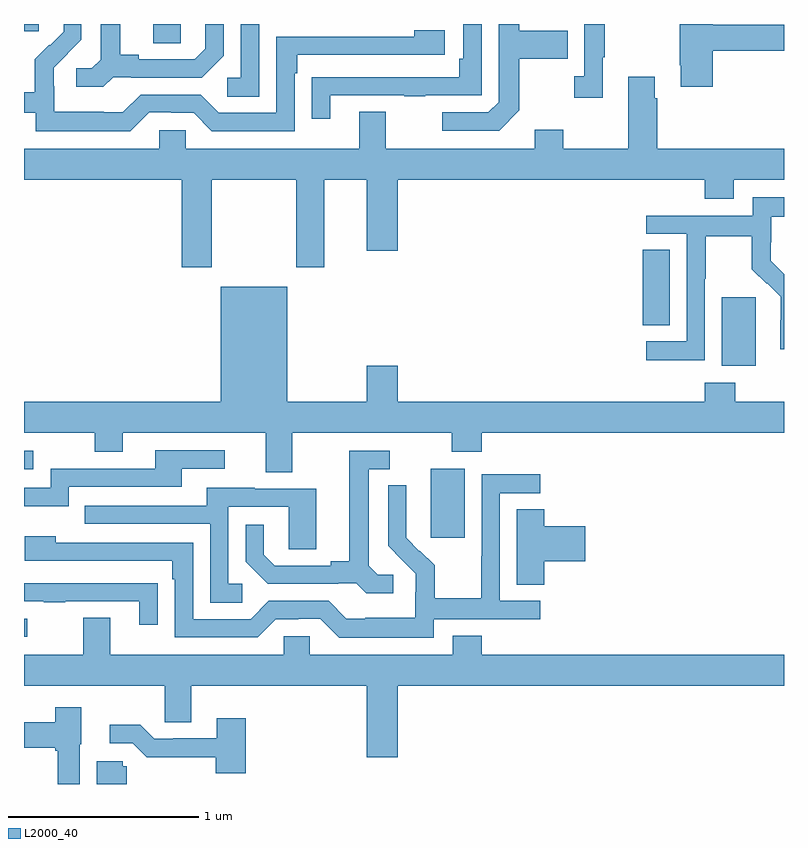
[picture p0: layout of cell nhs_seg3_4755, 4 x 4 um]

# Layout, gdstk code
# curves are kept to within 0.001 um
import gdstk
lib = gdstk.Library(unit=1e-6, precision=1e-09)
def R(c, l, rs):  # rectangles x0, y0, x1, y1
    for r in rs: c.add(gdstk.rectangle(r[:2], r[2:], *l))
def P(c, l, *ps):  # polygons
    for p in ps: c.add(gdstk.Polygon(p, *l))
L2000_40 = (2000, 40)

nhs_seg3_4755 = lib.new_cell('nhs_seg3_4755')
R(nhs_seg3_4755, L2000_40, [(367,701.175,367.018,701.271), (369.14,701.697,369.319,702.058), (367,702.057,367.048,702.153), (370.673,702.602,370.852,702.963), (370.256,702.814,370.399,703.211), (367.679,704.299,367.824,704.4), (367,704.361,367.078,704.4)])
P(nhs_seg3_4755, L2000_40, [(370.045,704.225),(370.057,704.225),(370.057,704.4),(369.948,704.4),(369.948,704.126),(369.897,704.126),(369.897,704.013),(370.045,704.013)],
  [(368.611,704.025),(369.001,704.025),(369.001,704.02),(369.113,704.02),(369.113,704.025),(369.408,704.025),(369.408,704.4),(369.312,704.4),(369.312,704.218),(369.292,704.218),(369.292,704.121),(368.617,704.121),(368.617,704.12),(368.515,704.12),(368.515,703.902),(368.611,703.902)],
  [(367.47,704.121),(367.564,704.121),(367.564,704.118),(367.936,704.118),(368.052,704.234),(368.052,704.4),(367.955,704.4),(367.955,704.271),(367.898,704.214),(367.603,704.214),(367.603,704.237),(367.507,704.237),(367.507,704.4),(367.403,704.4),(367.403,704.213),(367.356,704.166),(367.275,704.166),(367.275,704.069),(367.418,704.069)],
  [(367.659,703.935),(367.775,703.935),(367.775,703.932),(367.893,703.932),(367.989,703.836),(368.424,703.836),(368.424,704.141),(368.437,704.141),(368.437,704.238),(369.214,704.238),(369.214,704.368),(369.053,704.368),(369.053,704.334),(368.328,704.334),(368.328,703.932),(368.025,703.932),(367.929,704.028),(367.614,704.028),(367.521,703.935),(367.421,703.935),(367.421,703.939),(367.158,703.939),(367.158,704.073),(367.156,704.073),(367.156,704.17),(367.302,704.318),(367.302,704.4),(367.208,704.4),(367.208,704.36),(367.137,704.289),(367.134,704.292),(367.057,704.215),(367.057,704.041),(367,704.041),(367,703.932),(367.062,703.932),(367.062,703.835),(367.559,703.835)],
  [(370.625,704.26),(371,704.26),(371,704.396),(370.625,704.396),(370.625,704.4),(370.45,704.4),(370.45,704.182),(370.457,704.182),(370.457,704.07),(370.625,704.07)],
  [(368.238,704.4),(368.142,704.4),(368.142,704.118),(368.07,704.118),(368.07,704.017),(368.238,704.017)],
  [(369.607,703.945),(369.607,704.218),(369.863,704.218),(369.863,704.365),(369.607,704.365),(369.607,704.4),(369.498,704.4),(369.498,703.989),(369.444,703.935),(369.201,703.935),(369.201,703.839),(369.501,703.839)],
  [(367.989,703.58),(368.434,703.58),(368.434,703.119),(368.581,703.119),(368.581,703.58),(368.804,703.58),(368.804,703.206),(368.968,703.206),(368.968,703.58),(370.583,703.58),(370.583,703.481),(370.735,703.481),(370.735,703.58),(371,703.58),(371,703.744),(370.334,703.744),(370.334,704.009),(370.321,704.009),(370.321,704.122),(370.181,704.122),(370.181,703.744),(369.837,703.744),(369.837,703.843),(369.689,703.843),(369.689,703.744),(368.905,703.744),(368.905,703.939),(368.765,703.939),(368.765,703.744),(367.851,703.744),(367.851,703.842),(367.713,703.842),(367.713,703.744),(367,703.744),(367,703.58),(367.829,703.58),(367.829,703.119),(367.989,703.119)],
  [(370.584,703.06),(370.587,703.06),(370.587,703.284),(370.831,703.284),(370.831,703.109),(370.908,703.032),(370.911,703.035),(370.982,702.965),(370.982,702.842),(370.98,702.842),(370.98,702.688),(371,702.688),(371,703.084),(370.93,703.154),(370.93,703.251),(370.932,703.251),(370.932,703.385),(371,703.385),(371,703.489),(370.836,703.489),(370.836,703.392),(370.275,703.392),(370.275,703.296),(370.488,703.296),(370.488,702.729),(370.275,702.729),(370.275,702.631),(370.584,702.631)],
  [(368.413,702.248),(369.25,702.248),(369.25,702.149),(369.41,702.149),(369.41,702.248),(371,702.248),(371,702.412),(370.743,702.412),(370.743,702.511),(370.583,702.511),(370.583,702.412),(368.968,702.412),(368.968,702.601),(368.804,702.601),(368.804,702.412),(368.386,702.412),(368.386,703.018),(368.036,703.018),(368.036,702.412),(367,702.412),(367,702.248),(367.372,702.248),(367.372,702.149),(367.519,702.149),(367.519,702.248),(368.273,702.248),(368.273,702.04),(368.413,702.04)],
  [(367.236,701.964),(367.831,701.964),(367.831,702.06),(368.056,702.06),(368.056,702.156),(367.691,702.156),(367.691,702.06),(367.14,702.06),(367.14,701.958),(367,701.958),(367,701.861),(367.236,701.861)],
  [(368.944,701.502),(368.862,701.502),(368.815,701.549),(368.815,702.057),(368.926,702.057),(368.926,702.153),(368.711,702.153),(368.711,701.573),(368.615,701.573),(368.615,701.55),(368.32,701.55),(368.263,701.607),(368.263,701.764),(368.166,701.764),(368.166,701.57),(368.282,701.454),(368.654,701.454),(368.654,701.457),(368.748,701.457),(368.8,701.405),(368.944,701.405)],
  [(369.156,701.268),(369.718,701.268),(369.718,701.364),(369.504,701.364),(369.504,701.931),(369.718,701.931),(369.718,702.03),(369.408,702.03),(369.408,701.6),(369.406,701.6),(369.406,701.377),(369.161,701.377),(369.161,701.551),(369.084,701.628),(369.081,701.625),(369.011,701.696),(369.012,701.972),(368.916,701.972),(368.916,701.654),(369.062,701.506),(369.062,701.409),(369.06,701.409),(369.06,701.275),(368.797,701.275),(368.797,701.271),(368.697,701.271),(368.604,701.364),(368.289,701.364),(368.193,701.268),(367.89,701.268),(367.89,701.67),(367.166,701.67),(367.166,701.704),(367.005,701.704),(367.005,701.574),(367.781,701.574),(367.781,701.477),(367.794,701.477),(367.794,701.172),(368.229,701.172),(368.325,701.268),(368.444,701.268),(368.444,701.271),(368.559,701.271),(368.659,701.171),(369.156,701.171)],
  [(368.149,701.454),(368.076,701.454),(368.076,701.859),(368.394,701.859),(368.394,701.635),(368.539,701.635),(368.539,701.955),(368.215,701.955),(368.215,701.959),(367.961,701.959),(367.961,701.865),(367.321,701.865),(367.321,701.769),(367.98,701.769),(367.98,701.353),(368.149,701.353)],
  [(369.737,701.573),(369.955,701.573),(369.955,701.756),(369.737,701.756),(369.737,701.846),(369.593,701.846),(369.593,701.449),(369.737,701.449)],
  [(367.703,701.456),(367.601,701.456),(367.601,701.457),(367,701.457),(367,701.361),(367.105,701.361),(367.105,701.356),(367.217,701.356),(367.217,701.361),(367.607,701.361),(367.607,701.238),(367.703,701.238)],
  [(368.968,700.916),(371,700.916),(371,701.08),(369.41,701.08),(369.41,701.179),(369.257,701.179),(369.257,701.08),(368.505,701.08),(368.505,701.178),(368.367,701.178),(368.367,701.08),(367.453,701.08),(367.453,701.275),(367.313,701.275),(367.313,701.08),(367,701.08),(367,700.916),(367.74,700.916),(367.74,700.726),(367.879,700.726),(367.879,700.916),(368.804,700.916),(368.804,700.542),(368.968,700.542)],
  [(367.293,700.608),(367.3,700.608),(367.3,700.804),(367.164,700.804),(367.164,700.726),(367,700.726),(367,700.592),(367.164,700.592),(367.164,700.574),(367.177,700.574),(367.177,700.4),(367.293,700.4)],
  [(368.167,700.747),(368.015,700.747),(368.015,700.641),(367.786,700.641),(367.786,700.638),(367.686,700.638),(367.613,700.711),(367.452,700.711),(367.452,700.614),(367.572,700.614),(367.645,700.541),(368.008,700.542),(368.008,700.457),(368.167,700.457)],
  [(367.54,700.494),(367.521,700.494),(367.521,700.521),(367.382,700.521),(367.382,700.4),(367.54,700.4)])

lib.write_gds('nhs_seg3_4755.gds')
